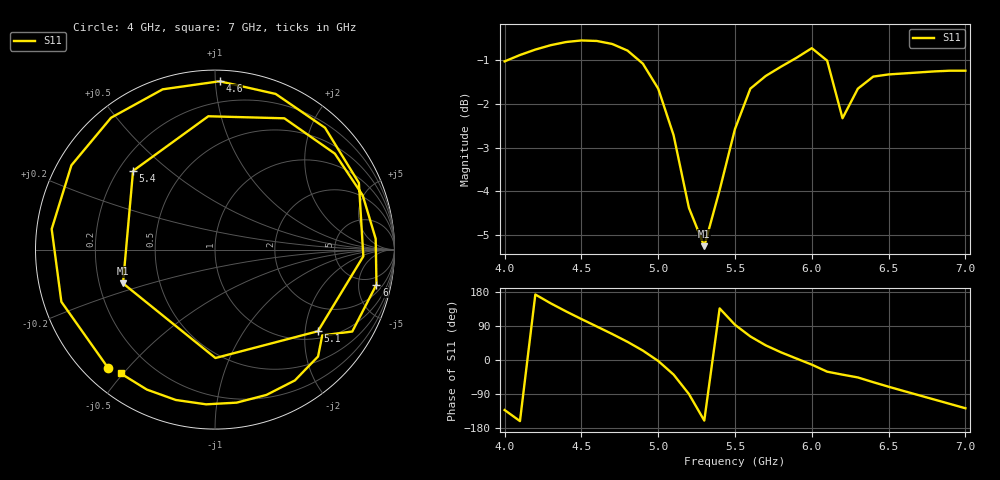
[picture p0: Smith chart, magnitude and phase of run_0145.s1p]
! Touchstone file exported from HFSS 2024.2.0
!  File:  C:/Users/wsak9/Desktop/Sim Fast/Widenad Patch/WP_AI_V1_sweep.aedt
!  Generated:  08:58:45 PM Oct 13, 2026
!  Design:  A1_model
!  Project:  WP_AI_V1_sweep
!  Setup:  Setup1
!  Solution:  Sweep
! Variables:
!  Air_gap = 4.94mm
!  Curve_Amp1 = 3.88
!  Curve_len1 = 1
!  Curve_pos = 9.685mm
!  Extra = 7.73mm
!  H_sub = 0.79mm
!  L_Patch = 15.37mm
!  L_Patch1 = 19.03mm
!  Sx = 2.88mm
!  Sy = 2.12mm
!  WS = 1.46mm
!  W_Patch = 15.29mm
!  W_Patch1 = 11.3mm
!Data is not renormalized
# GHz S MA
! Terminal data exported
! Port[1] = 1
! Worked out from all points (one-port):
!   31 points, 4 GHz to 7 GHz, reference per port
!   lowest |S11| = -5.3 dB at 5.3 GHz (marker M1), VSWR 3.40
!   |S11| at or under -10 dB: nowhere
!   S11 on the Smith chart (normalised r, x): 4 GHz: 0.07, -0.44; 4.6 GHz: 0.07, +1.03; 5.1 GHz: 1.19, -2.34; 5.4 GHz: 0.26, +0.38; 6 GHz: 3.18, -8.11; 7 GHz: 0.09, -0.49
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4  0.8889 -132.0
4.1  0.904 -161.2
4.2  0.9171 172.8
4.3  0.9278 149.6
4.4  0.9355 128.2
4.5  0.9394 108.1
4.6  0.9382 88.5
4.7  0.9308 68.7
4.8  0.9147 47.9
4.9  0.8837 24.9
5  0.8273 -2.6
5.1  0.7319 -38.4
5.2  0.604 -89.8
5.3  0.546 -159.8
5.4  0.633 136.2
5.5  0.7438 92.9
5.6  0.8273 62.2
5.7  0.8554 38.7
5.8  0.8767 20.2
5.9  0.8973 3.8
6  0.9205 -12.2
6.1  0.8907 -30.8
6.2  0.7652 -38.7
6.3  0.8272 -46.0
6.5  0.8589 -70.5
6.7  0.8635 -93.3
6.8  0.8658 -104.6
7  0.8673 -127.3
